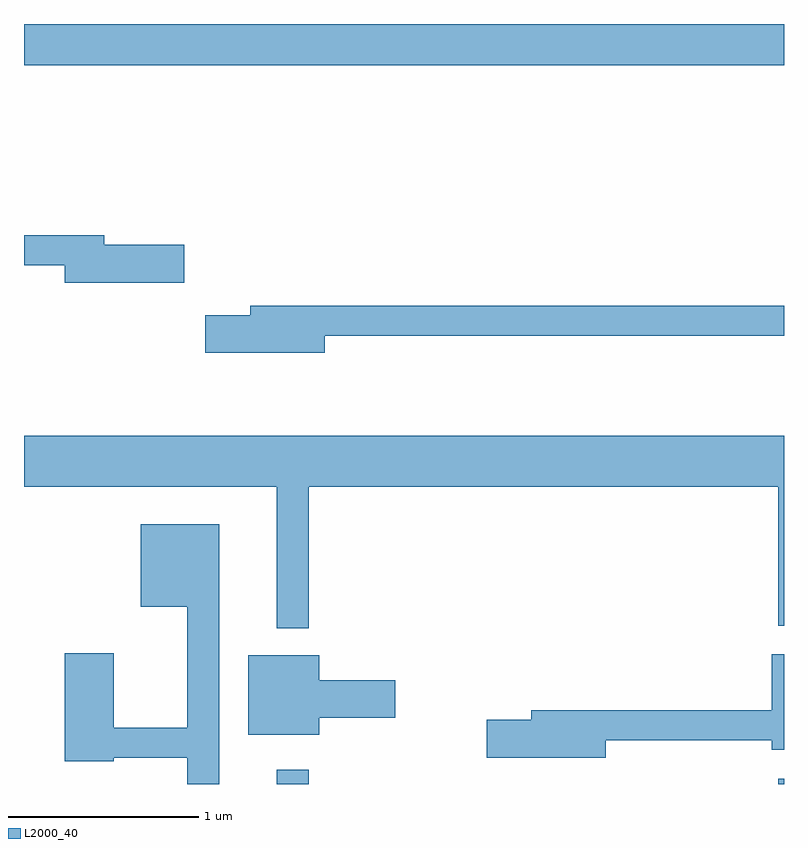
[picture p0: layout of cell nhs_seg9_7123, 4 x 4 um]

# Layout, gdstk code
import gdstk
lib = gdstk.Library(unit=1e-6, precision=1e-09)
def R(c, l, rs):  # rectangles x0, y0, x1, y1
    for r in rs: c.add(gdstk.rectangle(r[:2], r[2:], *l))
def P(c, l, *ps):  # polygons
    for p in ps: c.add(gdstk.Polygon(p, *l))
L2000_40 = (2000, 40)

nhs_seg9_7123 = lib.new_cell('nhs_seg9_7123')
R(nhs_seg9_7123, L2000_40, [(396.941,2032.432,397.109,2032.508), (399.581,2032.432,399.611,2032.459), (395.611,2036.216,399.611,2036.432)])
P(nhs_seg9_7123, L2000_40, [(396.454,2035.269),(396.034,2035.269),(396.034,2035.319),(395.611,2035.319),(395.611,2035.161),(395.826,2035.161),(395.826,2035.071),(396.454,2035.071)],
  [(397.194,2034.791),(399.611,2034.791),(399.611,2034.949),(396.801,2034.949),(396.801,2034.899),(396.566,2034.899),(396.566,2034.701),(397.194,2034.701)],
  [(397.109,2033.996),(399.581,2033.996),(399.581,2033.266),(399.611,2033.266),(399.611,2034.264),(395.611,2034.264),(395.611,2033.996),(396.941,2033.996),(396.941,2033.253),(397.109,2033.253)],
  [(396.639,2033.799),(396.226,2033.799),(396.226,2033.366),(396.471,2033.366),(396.471,2032.729),(396.084,2032.729),(396.084,2033.119),(395.826,2033.119),(395.826,2032.551),(396.084,2032.551),(396.084,2032.571),(396.471,2032.571),(396.471,2032.432),(396.639,2032.432)],
  [(398.674,2032.661),(399.546,2032.661),(399.546,2032.611),(399.611,2032.611),(399.611,2033.114),(399.546,2033.114),(399.546,2032.819),(398.281,2032.819),(398.281,2032.769),(398.046,2032.769),(398.046,2032.571),(398.674,2032.571)],
  [(397.164,2032.781),(397.564,2032.781),(397.564,2032.979),(397.164,2032.979),(397.164,2033.109),(396.791,2033.109),(396.791,2032.691),(397.164,2032.691)])

lib.write_gds('nhs_seg9_7123.gds')
